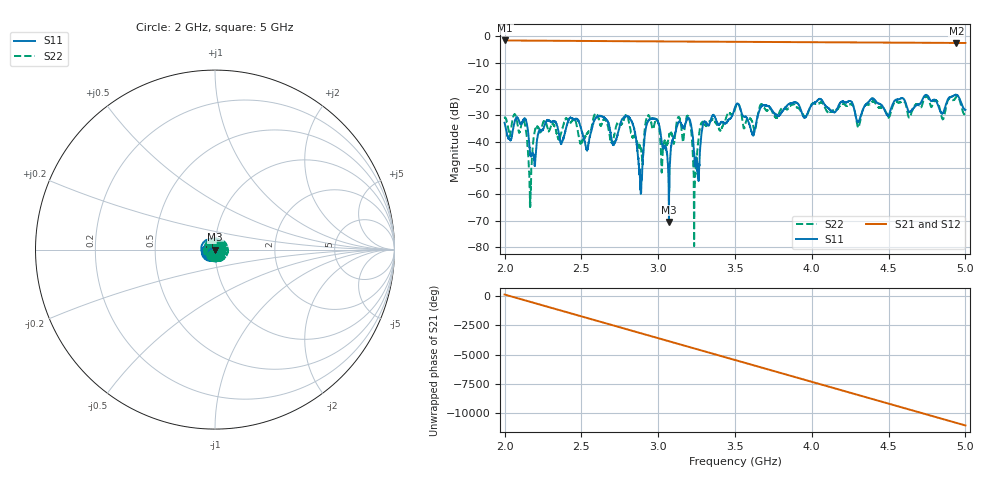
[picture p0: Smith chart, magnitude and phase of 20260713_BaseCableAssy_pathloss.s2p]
!Keysight Technologies,P5024B,MY61400434,A.20.20.03
!Date: Monday, July 13, 2026 10:25:32
!Correction: S11(C  2-Port  )
!S21(C  2-Port  )
!S12(C  2-Port  )
!S22(C  2-Port  )
!S2P File: Measurements: S11, S21, S12, S22:
# Hz S  dB  R 50
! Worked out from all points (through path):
!   3001 points, 2 GHz to 5 GHz, reference 50 ohm
!   highest |S21| = -1.59 dB at 2.003 GHz (marker M1); lowest = -2.6 dB at 4.941 GHz (marker M2)
!   group delay of S21, straight-line fit = 10.3 ns
!   lowest |S11| = -70.5 dB at 3.07 GHz (marker M3), VSWR 1.00, Z = 50 - j0.00912 ohm
!   |S11| at or under -10 dB: start of sweep to end of sweep
!   |S22| runs from -79.7 to -22.8 dB; largest |S21 - S12| = 0.0015
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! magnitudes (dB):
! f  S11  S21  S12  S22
! 2 GHz  -32.8  -1.6  -1.6  -30.8
! 2.003 GHz  -33.5  -1.6  -1.6  -31.0
! 2.127 GHz  -31.3  -1.6  -1.6  -32.4
! 2.166 GHz  -44.3  -1.6  -1.7  -61.4
! 2.2 GHz  -47.2  -1.7  -1.7  -35.1
! 2.258 GHz  -34.1  -1.7  -1.7  -32.2
! 2.5 GHz  -35.5  -1.8  -1.8  -40.2
! 2.804 GHz  -30.3  -1.9  -1.9  -31.2
! 2.885 GHz  -56.4  -1.9  -1.9  -42.8
! 2.93 GHz  -32.7  -1.9  -1.9  -30.3
! 3 GHz  -32.8  -2.0  -1.9  -32.8
! 3.07 GHz  -70.5  -2.0  -2.0  -38.3
! 3.196 GHz  -31.0  -2.0  -2.0  -30.3
! 3.24 GHz  -48.0  -2.0  -2.0  -53.8
! 3.285 GHz  -35.7  -2.0  -2.0  -32.8
! 3.5 GHz  -27.0  -2.1  -2.1  -27.6
! 3.616 GHz  -37.6  -2.1  -2.1  -33.3
! 3.682 GHz  -26.2  -2.2  -2.2  -26.4
! 4 GHz  -26.1  -2.3  -2.3  -25.8
! 4.5 GHz  -29.9  -2.4  -2.4  -30.9
! 4.941 GHz  -22.2  -2.6  -2.6  -23.0
! 5 GHz  -27.9  -2.6  -2.5  -28.9
